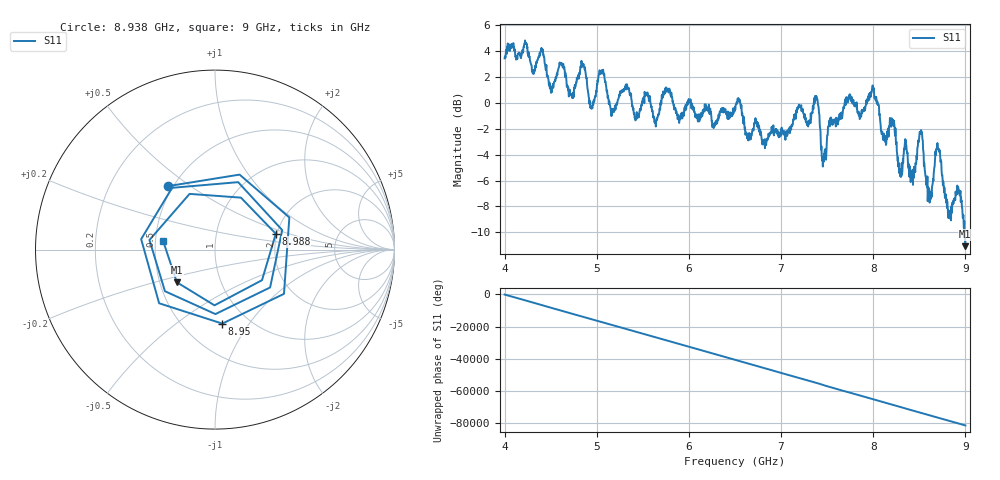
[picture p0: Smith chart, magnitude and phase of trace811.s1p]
! Created with skrf 1.8.0 (http://scikit-rf.org).
# Hz S RI R 50.0
!freq ReS11 ImS11
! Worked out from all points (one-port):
!   1601 points, 4 GHz to 9 GHz, reference 50 ohm
!   lowest |S11| = -11.1 dB at 8.997 GHz (marker M1), VSWR 1.78, Z = 30.6 - j12.1 ohm
!   |S11| at or under -10 dB: 8.990684 GHz to end of sweep
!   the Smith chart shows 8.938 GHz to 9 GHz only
!   S11 on the Smith chart (normalised r, x): 8.938 GHz: 0.47, +0.41; 8.95 GHz: 0.76, -0.76; 8.988 GHz: 1.97, +0.40; 9 GHz: 0.55, +0.05
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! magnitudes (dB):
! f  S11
! 4 GHz  3.4
! 4.625 GHz  2.9
! 4.719 GHz  0.6
! 4.847 GHz  2.9
! 4.941 GHz  -0.3
! 5.25 GHz  0.7
! 5.875 GHz  -0.9
! 6.5 GHz  -0.3
! 6.816 GHz  -3.2
! 7.125 GHz  -1.6
! 7.381 GHz  0.4
! 7.466 GHz  -4.0
! 7.75 GHz  0.6
! 8 GHz  1.0
! 8.116 GHz  -2.4
! 8.216 GHz  -1.4
! 8.291 GHz  -5.6
! 8.375 GHz  -4.3
! 8.431 GHz  -6.3
! 8.512 GHz  -2.3
! 8.609 GHz  -6.7
! 8.7 GHz  -3.3
! 8.819 GHz  -8.3
! 8.938 GHz  -7.1
! 8.95 GHz  -7.7
! 8.988 GHz  -9.1
! 8.997 GHz  -11.1
! 9 GHz  -10.7
